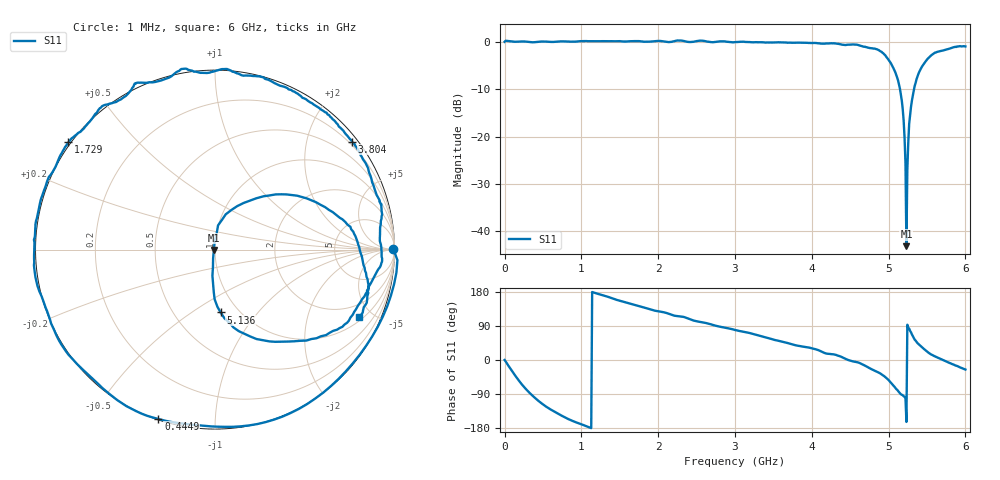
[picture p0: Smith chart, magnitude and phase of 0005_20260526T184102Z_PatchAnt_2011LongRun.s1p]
# Hz S RI R 50
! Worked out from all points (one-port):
!   501 points, 1 MHz to 6 GHz, reference 50 ohm
!   lowest |S11| = -43.1 dB at 5.232 GHz (marker M1), VSWR 1.01, Z = 49.3 - j0.196 ohm
!   |S11| at or under -10 dB: 5.149 GHz to 5.332 GHz (183.2 MHz wide, 3.5 % of centre)
!   S11 on the Smith chart (normalised r, x): 1 MHz: open; 444.9 MHz: 0.00, -0.72; 1.729 GHz: -0.01, +0.33; 3.804 GHz: 0.13, +2.88; 5.136 GHz: 0.83, -0.66; 6 GHz: 1.16, -4.18
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1000000  0.9944 0.00129
8.4986e7  0.9063 -0.4313
2.16964e8  0.4675 -0.8873
3.0095e8  0.1455 -0.9845
4.44926e8  -0.3149 -0.9438
7.56874e8  -0.8561 -0.5286
1.056824e9  -1.007 -0.1051
1.50075e9  -0.9256 0.4048
1.728712e9  -0.8166 0.5988
2.256624e9  -0.4475 0.9251
3.0005e9  0.1823 0.9697
3.756374e9  0.7372 0.6346
3.804366e9  0.7639 0.6021
4.296284e9  0.9268 0.2355
4.50025e9  0.9283 -0.025
4.86019e9  0.694 -0.4374
5.028162e9  0.3033 -0.5115
5.136144e9  0.0311 -0.3501
5.184136e9  -0.0102 -0.1942
5.196134e9  -0.0144 -0.1464
5.208132e9  -0.0114 -0.096
5.232128e9  -0.0067 -0.00199
5.256124e9  0.0085 0.0858
5.268122e9  0.017 0.1351
5.292118e9  0.06 0.1967
5.412098e9  0.399 0.3074
5.628062e9  0.7706 0.0995
6e9  0.8049 -0.3777
